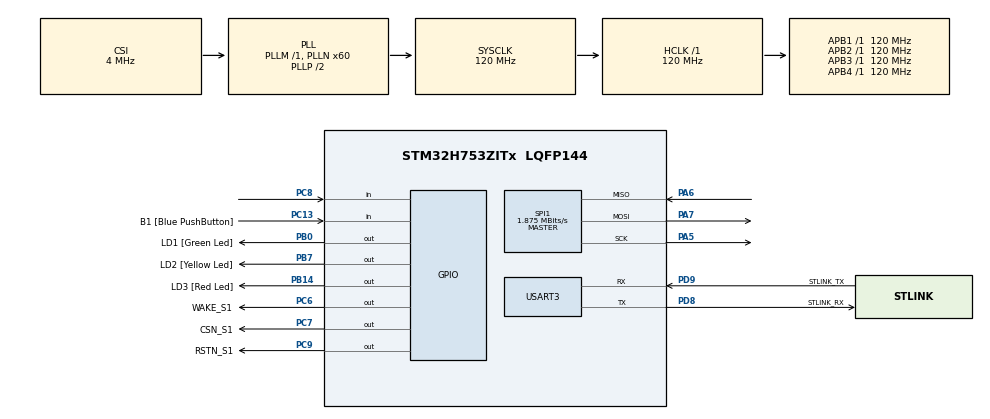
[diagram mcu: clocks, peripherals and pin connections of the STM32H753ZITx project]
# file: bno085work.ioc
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CORTEX_M7.CPU_DCache=Disabled
CORTEX_M7.CPU_ICache=Disabled
CORTEX_M7.MPU_Control=__NULL
CORTEX_M7.default_mode_Activation=1
FREERTOS.Tasks01=defaultTask,24,128,StartDefaultTask,Default,NULL,Dynamic,NULL,NULL;bno085Task,40,256,StartBno085Task,As weak,NULL,Dynamic,NULL,NULL
FREERTOS.configTOTAL_HEAP_SIZE=16384
FREERTOS.configUSE_NEWLIB_REENTRANT=1
Mcu.Family=STM32H7
Mcu.Name=STM32H753ZITx
Mcu.Package=LQFP144
NVIC.PriorityGroup=NVIC_PRIORITYGROUP_4
NVIC.TIM6_DAC_IRQn=true\:15\:0\:false\:false\:true\:false\:false\:true\:true
NVIC.TimeBase=TIM6_DAC_IRQn
NVIC.TimeBaseIP=TIM6
PA5.Mode=Full_Duplex_Master
PA5.Signal=SPI1_SCK
PA6.Mode=Full_Duplex_Master
PA6.Signal=SPI1_MISO
PA7.Mode=Full_Duplex_Master
PA7.Signal=SPI1_MOSI
PB0.GPIO_Label=LD1 [Green Led]
PB0.Signal=GPIO_Output
PB14.GPIO_Label=LD3 [Red Led]
PB14.Signal=GPIO_Output
PB7.GPIO_Label=LD2 [Yellow Led]
PB7.Signal=GPIO_Output
PC13.GPIO_Label=B1 [Blue PushButton]
PC13.Signal=GPIO_Input
PC14-OSC32_IN\ (OSC32_IN).Signal=RCC_OSC32_IN
PC15-OSC32_OUT\ (OSC32_OUT).Signal=RCC_OSC32_OUT
PC6.GPIO_Label=WAKE_S1
PC6.Signal=GPIO_Output
PC7.GPIO_Label=CSN_S1
PC7.Signal=GPIO_Output
PC8.Signal=GPIO_Input
PC9.GPIO_Label=RSTN_S1
PC9.Signal=GPIO_Output
PD8.GPIO_Label=STLINK_RX
PD8.Mode=Asynchronous
PD8.Signal=USART3_TX
PD9.GPIO_Label=STLINK_TX
PD9.Mode=Asynchronous
PD9.Signal=USART3_RX
PH0-OSC_IN\ (PH0).Signal=RCC_OSC_IN
PH1-OSC_OUT\ (PH1).Signal=RCC_OSC_OUT
ProjectManager.HeapSize=0x200
ProjectManager.StackSize=0x400
ProjectManager.TargetToolchain=STM32CubeIDE
RCC.ADCFreq_Value=8062500
RCC.APB1Freq_Value=120000000
RCC.APB2Freq_Value=120000000
RCC.APB3Freq_Value=120000000
RCC.APB4Freq_Value=120000000
RCC.CortexFreq_Value=120000000
RCC.DIVM1=1
RCC.DIVN1=60
RCC.HCLKFreq_Value=120000000
RCC.HSE_VALUE=8000000
RCC.PLLFRACN=0
RCC.PLLSourceVirtual=RCC_PLLSOURCE_CSI
RCC.PWR_Regulator_Voltage_Scale=PWR_REGULATOR_VOLTAGE_SCALE0
RCC.SYSCLKFreq_VALUE=120000000
RCC.SYSCLKSource=RCC_SYSCLKSOURCE_PLLCLK
RCC.USBFreq_Value=120000000
SPI1.BaudRatePrescaler=SPI_BAUDRATEPRESCALER_64
SPI1.CLKPhase=SPI_PHASE_2EDGE
SPI1.CLKPolarity=SPI_POLARITY_HIGH
SPI1.CalculateBaudRate=1.875 MBits/s
SPI1.DataSize=SPI_DATASIZE_8BIT
SPI1.Direction=SPI_DIRECTION_2LINES
SPI1.Mode=SPI_MODE_MASTER
SPI1.NSSPMode=SPI_NSS_PULSE_DISABLE
SPI1.VirtualType=VM_MASTER
USART3.VirtualMode-Asynchronous=VM_ASYNC
VP_FREERTOS_VS_CMSIS_V2.Mode=CMSIS_V2
VP_MEMORYMAP_VS_MEMORYMAP.Mode=CurAppReg
VP_SYS_VS_tim6.Mode=TIM6
board=NUCLEO-H753ZI

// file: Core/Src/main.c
/* USER CODE BEGIN Header */
/**
  ******************************************************************************
  * @file           : main.c
  * @brief          : Main program body
  ******************************************************************************
  * @attention
  *
  * Copyright (c) 2025 STMicroelectronics.
  * All rights reserved.
  *
  * This software is licensed under terms that can be found in the LICENSE file
  * in the root directory of this software component.
  * If no LICENSE file comes with this software, it is provided AS-IS.
  *
  ******************************************************************************
  */
/* USER CODE END Header */
#include "main.h"
#include "cmsis_os.h"
#include "spi.h"
#include "usart.h"
#include "gpio.h"

/* USER CODE BEGIN Includes */
#include <string.h>
#include <stdio.h>
#include "BNO085_SPI_Library.h"
#include "Hardware_Init.h"
/* USER CODE END Includes */

/* USER CODE BEGIN PD */
#define SPI1_PORT       GPIOA
#define SPI1_SCK_PIN    GPIO_PIN_5
#define SPI1_MISO_PIN   GPIO_PIN_6
#define SPI1_MOSI_PIN   GPIO_PIN_7
#define SPI1_AF_MAPPING GPIO_AF5_SPI1

#define CSN_PORT_S1     CSN_S1_GPIO_Port
#define CSN_PIN_S1      CSN_S1_Pin
#define INTN_PORT_S1    GPIOC
#define INTN_PIN_S1     GPIO_PIN_8
#define RSTN_PORT_S1    RSTN_S1_GPIO_Port
#define RSTN_PIN_S1     RSTN_S1_Pin
#define WAKE_PORT_S1    WAKE_S1_GPIO_Port
#define WAKE_PIN_S1     WAKE_S1_Pin
/* USER CODE END PD */

/* USER CODE BEGIN PV */
sensor_meta sensor1 = {0}; // zero-initialize the sensor metadata struct

/* USER CODE END PV */

void SystemClock_Config(void);
void MX_FREERTOS_Init(void);
/* USER CODE BEGIN PFP */
static void MX_DWT_Init(void);
const char* get_accuracy_string(uint8_t accuracy);
/* USER CODE END PFP */

/* USER CODE BEGIN 0 */
#ifdef __GNUC__
#define PUTCHAR_PROTOTYPE int __io_putchar(int ch)
#else
#define PUTCHAR_PROTOTYPE int fputc(int ch, FILE *f)
#endif
PUTCHAR_PROTOTYPE
{
  HAL_UART_Transmit(&huart3, (uint8_t *)&ch, 1, HAL_MAX_DELAY);
  return ch;
}

// This is the required shim function for microsecond delays
void delay_Us(uint32_t micros) {
    uint32_t start = DWT->CYCCNT;
    // Calculate the number of CPU cycles for the desired delay
    uint32_t cycles = micros * (SystemCoreClock / 1000000);
    while ((DWT->CYCCNT - start) < cycles) {
        // Busy wait
    }
}

// helper function to convert the accuracy level to a readable string.
const char* get_accuracy_string(uint8_t accuracy) {
    switch(accuracy) {
        case 0: return "Unreliable";
        case 1: return "Low";
        case 2: return "Medium";
        case 3: return "High";
        default: return "Unknown";
    }
}

/* USER CODE END 0 */

int main(void)
{

  /* MCU Configuration--------------------------------------------------------*/

  /* Reset of all peripherals, Initializes the Flash interface and the Systick. */
  HAL_Init();

  /* Configure the system clock */
  SystemClock_Config();

  /* Initialize all configured peripherals */
  MX_GPIO_Init();
  MX_SPI1_Init();
  MX_USART3_UART_Init();
  /* USER CODE BEGIN 2 */
  MX_DWT_Init(); // Initialize the cycle counter for delay_Us

  uint8_t startup_status = N_ERR;

  // 1. Register Sensor Pins
  register_Sensor(&sensor1, 1, CSN_PIN_S1, CSN_PORT_S1, INTN_PIN_S1, INTN_PORT_S1, RSTN_PIN_S1, RSTN_PORT_S1);

  // 2. Initialize the library's hardware functions.
  bno085_library_spi_config_struct spi_config = {
      .SPI_Instance = SPI1
  };
  init_HardwareBNO085(&hspi1, spi_config);

  // 3. Initialize the BNO085 Sensor
  printf("Initializing BNO085...\r\n");
  // Set WAKE pin high BEFORE resetting to ensure SPI mode is selected
  HAL_GPIO_WritePin(WAKE_PORT_S1, WAKE_PIN_S1, GPIO_PIN_SET);

  init_GPIO_IMU(&sensor1);
  hardreset_IMU(&sensor1);

  // After a hard reset, the BNO085 sends two ad packetes
  // wait and clear before proceeding
  HAL_Delay(50);

  // Clear the first advertisement packet
  startup_status &= clear_init_Message_IMU(&sensor1);
  if(startup_status != N_ERR) {
      printf("Error: BNO085 did not send first advertisement packet.\r\n");
      Error_Handler();
  }

  // Clear the second advertisement packet
  startup_status &= clear_init_Message_IMU(&sensor1);
    if(startup_status != N_ERR) {
      printf("Error: BNO085 did not send second advertisement packet.\r\n");
      Error_Handler();
  }
  printf("BNO085 advertisement packets cleared.\r\n");

  // Verify we can communicate with the sensor by requesting its product ID
  startup_status &= check_Connection_IMU(&sensor1);
  if(startup_status != N_ERR) {
      printf("Error: Failed to get Product ID from BNO085.\r\n");
      Error_Handler();
  }
  printf("BNO085 connection successful.\r\n");

  get_and_clear_Reset_Status(&sensor1);
  // 4. Enable Desired Sensor Report
  printf("Enabling Game Rotation Vector at 100Hz...\r\n");

  if (startup_status != N_ERR) {
      printf("Error: Could not enable Game Rotation Vector.\r\n");
      Error_Handler();
  }

  /* USER CODE END 2 */

  /* Init scheduler */
  osKernelInitialize();  /* Call init function for freertos objects (in cmsis_os2.c) */
  MX_FREERTOS_Init();

  /* Start scheduler */
  osKernelStart();

  /* We should never get here as control is now taken by the scheduler */

  /* Infinite loop */
  while (1)
  {

    /* USER CODE BEGIN 3 */

    // REMOVE THIS CODE - it's now in the FreeRTOS task!
    // if (data_available(&sensor1)) {
    //     ...
    // }

  }
  /* USER CODE END 3 */
}

void SystemClock_Config(void)
{
  RCC_OscInitTypeDef RCC_OscInitStruct = {0};
  RCC_ClkInitTypeDef RCC_ClkInitStruct = {0};

  /** Supply configuration update enable
  */
  HAL_PWREx_ConfigSupply(PWR_LDO_SUPPLY);

  /** Configure the main internal regulator output voltage
  */
  __HAL_PWR_VOLTAGESCALING_CONFIG(PWR_REGULATOR_VOLTAGE_SCALE0);

  while(!__HAL_PWR_GET_FLAG(PWR_FLAG_VOSRDY)) {}

  /** Initializes the RCC Oscillators according to the specified parameters
  * in the RCC_OscInitTypeDef structure.
  */
  RCC_OscInitStruct.OscillatorType = RCC_OSCILLATORTYPE_CSI;
  RCC_OscInitStruct.CSIState = RCC_CSI_ON;
  RCC_OscInitStruct.CSICalibrationValue = RCC_CSICALIBRATION_DEFAULT;
  RCC_OscInitStruct.PLL.PLLState = RCC_PLL_ON;
  RCC_OscInitStruct.PLL.PLLSource = RCC_PLLSOURCE_CSI;
  RCC_OscInitStruct.PLL.PLLM = 1;
  RCC_OscInitStruct.PLL.PLLN = 60;
  RCC_OscInitStruct.PLL.PLLP = 2;
  RCC_OscInitStruct.PLL.PLLQ = 2;
  RCC_OscInitStruct.PLL.PLLR = 2;
  RCC_OscInitStruct.PLL.PLLRGE = RCC_PLL1VCIRANGE_2;
  RCC_OscInitStruct.PLL.PLLVCOSEL = RCC_PLL1VCOWIDE;
  RCC_OscInitStruct.PLL.PLLFRACN = 0;
  if (HAL_RCC_OscConfig(&RCC_OscInitStruct) != HAL_OK)
  {
    Error_Handler();
  }

  /** Initializes the CPU, AHB and APB buses clocks
  */
  RCC_ClkInitStruct.ClockType = RCC_CLOCKTYPE_HCLK|RCC_CLOCKTYPE_SYSCLK
                              |RCC_CLOCKTYPE_PCLK1|RCC_CLOCKTYPE_PCLK2
                              |RCC_CLOCKTYPE_D3PCLK1|RCC_CLOCKTYPE_D1PCLK1;
  RCC_ClkInitStruct.SYSCLKSource = RCC_SYSCLKSOURCE_PLLCLK;
  RCC_ClkInitStruct.SYSCLKDivider = RCC_SYSCLK_DIV1;
  RCC_ClkInitStruct.AHBCLKDivider = RCC_HCLK_DIV1;
  RCC_ClkInitStruct.APB3CLKDivider = RCC_APB3_DIV1;
  RCC_ClkInitStruct.APB1CLKDivider = RCC_APB1_DIV1;
  RCC_ClkInitStruct.APB2CLKDivider = RCC_APB2_DIV1;
  RCC_ClkInitStruct.APB4CLKDivider = RCC_APB4_DIV1;

  if (HAL_RCC_ClockConfig(&RCC_ClkInitStruct, FLASH_LATENCY_1) != HAL_OK)
  {
    Error_Handler();
  }
}

/* USER CODE BEGIN 4 */
static void MX_DWT_Init(void) {
    // Enable the DWT and its cycle counter
    CoreDebug->DEMCR |= CoreDebug_DEMCR_TRCENA_Msk;
    DWT->CTRL |= DWT_CTRL_CYCCNTENA_Msk;
}
/* USER CODE END 4 */

void HAL_TIM_PeriodElapsedCallback(TIM_HandleTypeDef *htim)
{
  if (htim->Instance == TIM6)
  {
    HAL_IncTick();
  }
}

void Error_Handler(void)
{
  __disable_irq();
  while (1)
  {
  }
}

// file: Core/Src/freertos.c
/* USER CODE BEGIN Header */
/**
  ******************************************************************************
  * File Name          : freertos.c
  * Description        : Code for freertos applications
  ******************************************************************************
  * @attention
  *
  * Copyright (c) 2025 STMicroelectronics.
  * All rights reserved.
  *
  * This software is licensed under terms that can be found in the LICENSE file
  * in the root directory of this software component.
  * If no LICENSE file comes with this software, it is provided AS-IS.
  *
  ******************************************************************************
  */
/* USER CODE END Header */

#include "FreeRTOS.h"
#include "task.h"
#include "main.h"
#include "cmsis_os.h"

/* USER CODE BEGIN Includes */
#include <stdio.h>
#include "BNO085_SPI_Library.h"
#include "Hardware_Init.h"
// Declare external sensor variable (defined in main.c)
extern sensor_meta sensor1;
extern const char* get_accuracy_string(uint8_t accuracy);
/* USER CODE END Includes */

/* Definitions for defaultTask */
osThreadId_t defaultTaskHandle;
const osThreadAttr_t defaultTask_attributes = {
  .name = "defaultTask",
  .stack_size = 128 * 4,
  .priority = (osPriority_t) osPriorityNormal,
};
/* Definitions for bno085Task */
osThreadId_t bno085TaskHandle;
const osThreadAttr_t bno085Task_attributes = {
  .name = "bno085Task",
  .stack_size = 256 * 4,
  .priority = (osPriority_t) osPriorityHigh,
};

void StartDefaultTask(void *argument);
void StartBno085Task(void *argument);

void MX_FREERTOS_Init(void); /* (MISRA C 2004 rule 8.1) */

void MX_FREERTOS_Init(void) {

  /* Create the thread(s) */
  /* creation of defaultTask */
  defaultTaskHandle = osThreadNew(StartDefaultTask, NULL, &defaultTask_attributes);

  /* creation of bno085Task */
  bno085TaskHandle = osThreadNew(StartBno085Task, NULL, &bno085Task_attributes);

}

void StartDefaultTask(void *argument)
{
  for(;;)
  {
    osDelay(1);
  }
}

void StartBno085Task(void *argument)
{
  printf("BNO085 Task: Initializing...\r\n");

  // Enable both reports with delays
  printf("Enabling Game Rotation Vector...\r\n");
  enable_GameRotationVector(&sensor1, 10);
  osDelay(100);

  printf("Enabling Linear Acceleration...\r\n");
  enable_LinearAcceleration(&sensor1, 10);
  osDelay(100);

  printf("Waiting for sensor reports...\r\n");

  uint32_t timeout = HAL_GetTick() + 2000;  // 2 second timeout
  bool got_quat = false;
  bool got_accel = false;

  while (HAL_GetTick() < timeout && !(got_quat && got_accel)) {
      if(data_available(&sensor1)) {
          if (!got_quat && (sensor1.quaternions.raw_Quat_Real != 0)) {
              printf("Receiving quaternion data\r\n");
              got_quat = true;
          }

          // Check if accel data is present
          if (!got_accel && (sensor1.linear_acceleration_data.raw_Accel_X != 0 ||
                             sensor1.linear_acceleration_data.raw_Accel_Y != 0 ||
                             sensor1.linear_acceleration_data.raw_Accel_Z != 0)) {
              printf("Receiving acceleration data\r\n");
              got_accel = true;
          }
      }
      osDelay(10);
  }

  if (!got_quat) {
      printf("WARNING: Not receiving quaternion data!\r\n");
  }
  if (!got_accel) {
      printf("WARNING: Not receiving acceleration data!\r\n");
  }

  printf("BNO085 Task: Ready\r\n");

  uint32_t last_print_time = 0;

  for(;;)
  {
    if(data_available(&sensor1)) {
        float quat_i = get_Quat_I(&sensor1);
        float quat_j = get_Quat_J(&sensor1);
        float quat_k = get_Quat_K(&sensor1);
        float quat_real = get_Quat_Real(&sensor1);
        uint8_t accuracy = get_Quat_Accuracy(&sensor1);

        float accel_x = get_LinearAcceleration_X(&sensor1);
        float accel_y = get_LinearAcceleration_Y(&sensor1);
        float accel_z = get_LinearAcceleration_Z(&sensor1);

        uint32_t current_time = HAL_GetTick();
        if (current_time - last_print_time >= 100) {
            printf("Q[%.3f,%.3f,%.3f,%.3f] A[%.2f,%.2f,%.2f] %s\r\n",
                   quat_i, quat_j, quat_k, quat_real,
                   accel_x, accel_y, accel_z,
                   get_accuracy_string(accuracy));
            last_print_time = current_time;
        }
    }

    if(get_and_clear_Reset_Status(&sensor1)) {
        printf("IMU reset, re-enabling...\r\n");
        enable_GameRotationVector(&sensor1, 10);
        osDelay(100);
        enable_LinearAcceleration(&sensor1, 10);
        osDelay(100);
    }

    osDelay(5);
  }
}
